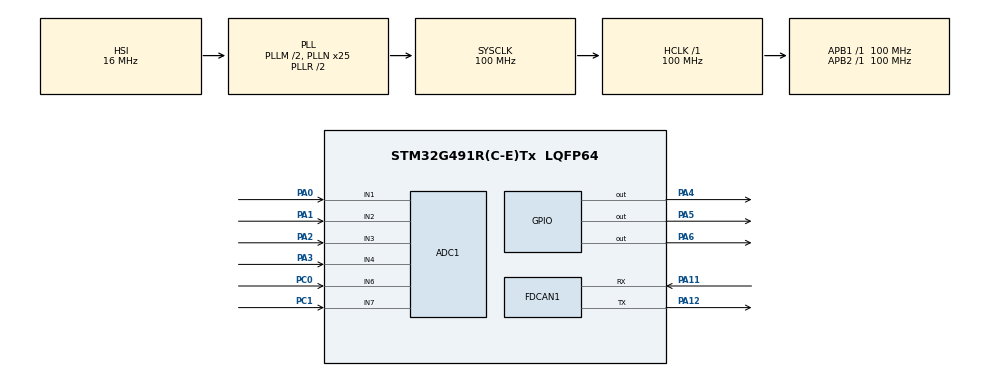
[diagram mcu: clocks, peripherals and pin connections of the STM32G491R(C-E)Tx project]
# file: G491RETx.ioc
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ADC1.Channel-0\#ChannelRegularConversion=ADC_CHANNEL_6
ADC1.NbrOfConversionFlag=1
ADC1.OffsetNumber-0\#ChannelRegularConversion=ADC_OFFSET_NONE
ADC1.Rank-0\#ChannelRegularConversion=1
ADC1.SamplingTime-0\#ChannelRegularConversion=ADC_SAMPLETIME_2CYCLES_5
ADC1.SingleDiff-0\#ChannelRegularConversion=ADC_DIFFERENTIAL_ENDED
ADC1.master=1
FDCAN1.CalculateBaudRateNominal=2083333
FDCAN1.CalculateTimeBitNominal=480
FDCAN1.CalculateTimeQuantumNominal=160.0
Mcu.Family=STM32G4
Mcu.Name=STM32G491R(C-E)Tx
Mcu.Package=LQFP64
NVIC.PriorityGroup=NVIC_PRIORITYGROUP_4
PA0.Mode=IN1-Differential
PA0.Signal=ADC1_IN1
PA1.Mode=IN1-Differential
PA1.Signal=ADC1_IN2
PA11.Mode=FDCAN_Activate
PA11.Signal=FDCAN1_RX
PA12.Mode=FDCAN_Activate
PA12.Signal=FDCAN1_TX
PA13.GPIO_Label=T_SWDIO
PA13.Signal=SYS_JTMS-SWDIO
PA14.GPIO_Label=T_SWCLK
PA14.Signal=SYS_JTCK-SWCLK
PA15.Signal=SYS_JTDI
PA2.Mode=IN3-Differential
PA2.Signal=ADC1_IN3
PA3.Mode=IN3-Differential
PA3.Signal=ADC1_IN4
PA4.Signal=GPIO_Output
PA5.Signal=GPIO_Output
PA6.Signal=GPIO_Output
PB14.Signal=ADC1_IN5
PB3.GPIO_Label=T_SWO
PB3.Signal=SYS_JTDO-SWO
PC0.Mode=IN6-Differential
PC0.Signal=ADC1_IN6
PC1.Mode=IN6-Differential
PC1.Signal=ADC1_IN7
PC2.Signal=ADC1_IN8
ProjectManager.HeapSize=0x200
ProjectManager.StackSize=0x400
ProjectManager.TargetToolchain=STM32CubeIDE
RCC.ADC12Freq_Value=100000000
RCC.ADC345Freq_Value=100000000
RCC.AHBFreq_Value=100000000
RCC.APB1Freq_Value=100000000
RCC.APB1TimFreq_Value=100000000
RCC.APB2Freq_Value=100000000
RCC.APB2TimFreq_Value=100000000
RCC.CortexFreq_Value=100000000
RCC.EXTERNAL_CLOCK_VALUE=12288000
RCC.HCLKFreq_Value=100000000
RCC.HSE_VALUE=24000000
RCC.HSI48_VALUE=48000000
RCC.HSI_VALUE=16000000
RCC.LSE_VALUE=32768
RCC.PLLM=RCC_PLLM_DIV2
RCC.PLLN=25
RCC.RTCClockSelection=RCC_RTCCLKSOURCE_LSE
RCC.SYSCLKFreq_VALUE=100000000
RCC.SYSCLKSource=RCC_SYSCLKSOURCE_PLLCLK
RCC.USBFreq_Value=48000000
RCC.VCOOutputFreq_Value=200000000
VP_SYS_VS_DBSignals.Mode=DisableDeadBatterySignals
board=NUCLEO-G491RE

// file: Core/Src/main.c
/* USER CODE BEGIN Header */
/**
  ******************************************************************************
  * @file           : main.c
  * @brief          : Main program body
  ******************************************************************************
  * @attention
  *
  * Copyright (c) 2026 STMicroelectronics.
  * All rights reserved.
  *
  * This software is licensed under terms that can be found in the LICENSE file
  * in the root directory of this software component.
  * If no LICENSE file comes with this software, it is provided AS-IS.
  *
  ******************************************************************************
  */
/* USER CODE END Header */
#include "main.h"
#include "adc.h"
#include "fdcan.h"
#include "gpio.h"

/* USER CODE BEGIN Includes */

#include "mp7_fdcan.h"

/* USER CODE END Includes */

/* USER CODE BEGIN PD */

/*
 * Delay between full MUX scans in milliseconds.
 * Each scan reads 8 channels × 8 groups = 64 ADC samples.
 * At 1ms MUX settling + ADC conversion time per sample, one full scan
 * takes roughly 64–100ms. Set SCAN_INTERVAL_MS to 0 for continuous scanning,
 * or higher to reduce bus traffic and power usage.
 */
#define SCAN_INTERVAL_MS    500

/* USER CODE END PD */

void SystemClock_Config(void);
/* USER CODE BEGIN PFP */

void HAL_FDCAN_RxFifo0Callback(FDCAN_HandleTypeDef *hfdcan, uint32_t RxFifo0ITs);
void HAL_FDCAN_RxFifo1Callback(FDCAN_HandleTypeDef *hfdcan, uint32_t RxFifo1ITs);

/* USER CODE END PFP */

int main(void)
{

  /* MCU Configuration--------------------------------------------------------*/

  /* Reset of all peripherals, Initializes the Flash interface and the Systick. */
  HAL_Init();

  /* Configure the system clock */
  SystemClock_Config();

  /* Initialize all configured peripherals */
  MX_GPIO_Init();
  MX_ADC1_Init();
  MX_FDCAN1_Init();
  /* USER CODE BEGIN 2 */

  /* Initialize MUX select GPIO pins and default to channel 0 */
  MUX_GPIO_Init();

  /* Run ADC self-calibration for accuracy on STM32G4 */
  ADC_Init(&hadc1);

  MP7_printf("Temperature monitor started.\r\n");

  /* USER CODE END 2 */

  /* Infinite loop */
  /* USER CODE BEGIN WHILE */
  while (1)
  {
	  /*
	      * Perform a full scan:
	      *   - Cycles MUX select through channels 0–7
	      *   - Reads ADC for each of the 8 MUX groups per channel
	      *   - Averages 8 readings per group
	      *   - Sends CAN fault alert if any group average is out of range
	      * Results are stored in groupAverages[0..7] (defined in adcRead.c)
	      */
	     readAllMuxGroups(&hadc1, &hfdcan1);

	     HAL_Delay(SCAN_INTERVAL_MS);

    /* USER CODE END WHILE */

  }
}

void SystemClock_Config(void)
{
  RCC_OscInitTypeDef RCC_OscInitStruct = {0};
  RCC_ClkInitTypeDef RCC_ClkInitStruct = {0};

  /** Configure the main internal regulator output voltage
  */
  HAL_PWREx_ControlVoltageScaling(PWR_REGULATOR_VOLTAGE_SCALE1);

  /** Initializes the RCC Oscillators according to the specified parameters
  * in the RCC_OscInitTypeDef structure.
  */
  RCC_OscInitStruct.OscillatorType = RCC_OSCILLATORTYPE_HSI;
  RCC_OscInitStruct.HSIState = RCC_HSI_ON;
  RCC_OscInitStruct.HSICalibrationValue = RCC_HSICALIBRATION_DEFAULT;
  RCC_OscInitStruct.PLL.PLLState = RCC_PLL_ON;
  RCC_OscInitStruct.PLL.PLLSource = RCC_PLLSOURCE_HSI;
  RCC_OscInitStruct.PLL.PLLM = RCC_PLLM_DIV2;
  RCC_OscInitStruct.PLL.PLLN = 25;
  RCC_OscInitStruct.PLL.PLLP = RCC_PLLP_DIV2;
  RCC_OscInitStruct.PLL.PLLQ = RCC_PLLQ_DIV2;
  RCC_OscInitStruct.PLL.PLLR = RCC_PLLR_DIV2;
  if (HAL_RCC_OscConfig(&RCC_OscInitStruct) != HAL_OK)
  {
    Error_Handler();
  }

  /** Initializes the CPU, AHB and APB buses clocks
  */
  RCC_ClkInitStruct.ClockType = RCC_CLOCKTYPE_HCLK|RCC_CLOCKTYPE_SYSCLK
                              |RCC_CLOCKTYPE_PCLK1|RCC_CLOCKTYPE_PCLK2;
  RCC_ClkInitStruct.SYSCLKSource = RCC_SYSCLKSOURCE_PLLCLK;
  RCC_ClkInitStruct.AHBCLKDivider = RCC_SYSCLK_DIV1;
  RCC_ClkInitStruct.APB1CLKDivider = RCC_HCLK_DIV1;
  RCC_ClkInitStruct.APB2CLKDivider = RCC_HCLK_DIV1;

  if (HAL_RCC_ClockConfig(&RCC_ClkInitStruct, FLASH_LATENCY_3) != HAL_OK)
  {
    Error_Handler();
  }
}

/* USER CODE BEGIN 4 */

void HAL_FDCAN_RxFifo0Callback(FDCAN_HandleTypeDef *hfdcan, uint32_t RxFifo0ITs) {
  if (hfdcan == &hfdcan1) {
    FDCAN_RxHeaderTypeDef RxHeader;
    uint8_t RxData[MP7_FDCAN_MAX_DLC];
    if (HAL_FDCAN_GetRxMessage(hfdcan, FDCAN_RX_FIFO0, &RxHeader, RxData) != HAL_OK) {
      Error_Handler();
    }

    MP7_printf("Received CAN Message\r\n");

  }
}

void HAL_FDCAN_RxFifo1Callback(FDCAN_HandleTypeDef *hfdcan, uint32_t RxFifo1ITs) {
  if (hfdcan == &hfdcan1) {
    FDCAN_RxHeaderTypeDef RxHeader;
    uint8_t RxData[MP7_FDCAN_MAX_DLC];
    if (HAL_FDCAN_GetRxMessage(hfdcan, FDCAN_RX_FIFO1, &RxHeader, RxData) != HAL_OK) {
      Error_Handler();
    }

    MP7_printf("Received CAN Message\r\n");

  }
}

/* USER CODE END 4 */

void Error_Handler(void)
{
  __disable_irq();
  while (1)
  {
  }
}
